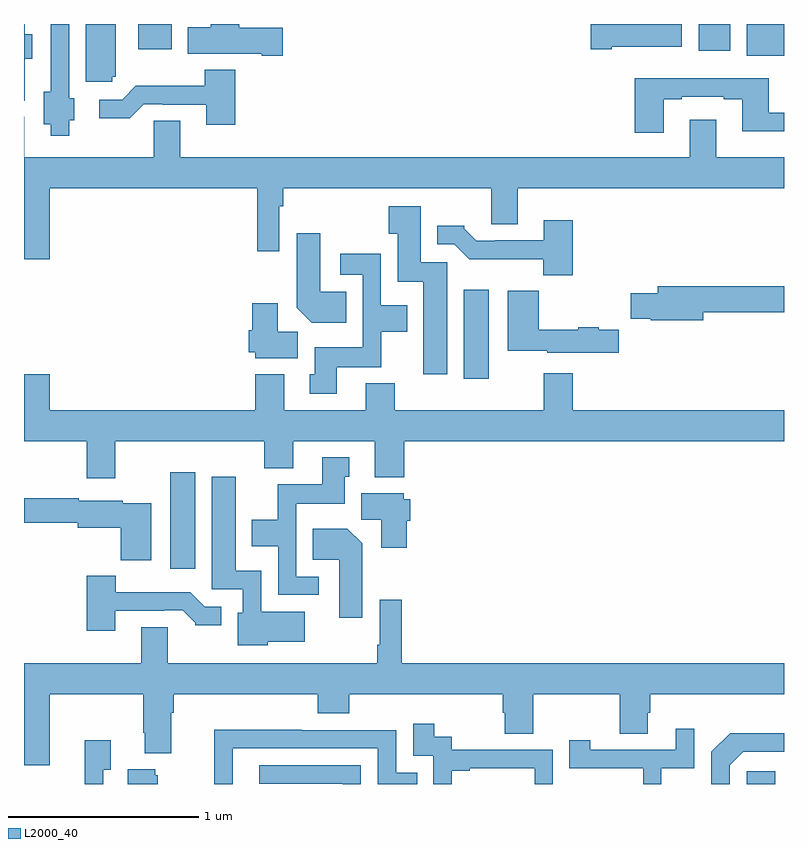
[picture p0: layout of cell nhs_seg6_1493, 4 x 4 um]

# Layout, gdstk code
import gdstk
lib = gdstk.Library(unit=1e-6, precision=1e-09)
def R(c, l, rs):  # rectangles x0, y0, x1, y1
    for r in rs: c.add(gdstk.rectangle(r[:2], r[2:], *l))
def P(c, l, *ps):  # polygons
    for p in ps: c.add(gdstk.Polygon(p, *l))
L2000_40 = (2000, 40)

nhs_seg6_1493 = lib.new_cell('nhs_seg6_1493')
R(nhs_seg6_1493, L2000_40, [(204.804,977.5,204.955,977.566), (201.77,978.633,201.901,979.141), (203.315,979.632,203.446,980.101), (204.803,981.332,205,981.5), (204.551,981.36,204.718,981.5), (201.6,981.368,201.777,981.5)])
P(nhs_seg6_1493, L2000_40, [(201.238,980.994),(201.265,980.994),(201.265,981.108),(201.237,981.108),(201.237,981.5),(201.141,981.5),(201.141,981.143),(201.104,981.143),(201.104,980.972),(201.14,980.972),(201.14,980.912),(201.238,980.912)],
  [(201.465,981.222),(201.484,981.222),(201.484,981.5),(201.326,981.5),(201.326,981.195),(201.465,981.195)],
  [(202.363,981.479),(202.133,981.479),(202.133,981.5),(201.983,981.5),(201.983,981.482),(201.862,981.482),(201.862,981.344),(202.25,981.344),(202.25,981.332),(202.363,981.332)],
  [(204.094,981.38),(204.463,981.38),(204.463,981.5),(203.982,981.5),(203.982,981.368),(204.094,981.368)],
  [(201.004,981.316),(201.043,981.316),(201.043,981.445),(201.004,981.445),(201.004,981.5),(201,981.5),(201,981.097),(201.004,981.097)],
  [(202.112,981.259),(201.952,981.259),(201.952,981.175),(201.589,981.175),(201.516,981.102),(201.396,981.102),(201.396,981.005),(201.557,981.005),(201.63,981.078),(201.73,981.078),(201.73,981.075),(201.959,981.075),(201.959,980.97),(202.112,980.97)],
  [(204.367,981.105),(204.463,981.105),(204.463,981.117),(204.683,981.117),(204.683,981.105),(204.779,981.105),(204.779,980.936),(205,980.936),(205,981.033),(204.919,981.033),(204.919,981.214),(204.215,981.214),(204.215,980.928),(204.367,980.928)],
  [(201.136,980.636),(202.228,980.636),(202.228,980.304),(202.344,980.304),(202.344,980.54),(202.364,980.54),(202.364,980.636),(203.459,980.636),(203.459,980.446),(203.599,980.446),(203.599,980.636),(205,980.636),(205,980.8),(204.643,980.8),(204.643,980.995),(204.503,980.995),(204.503,980.8),(201.823,980.8),(201.823,980.99),(201.684,980.99),(201.684,980.8),(201.001,980.8),(201.001,981.012),(201,981.012),(201,980.262),(201.136,980.262)],
  [(203.227,980.247),(203.089,980.247),(203.089,980.542),(202.921,980.542),(202.921,980.395),(202.967,980.395),(202.967,980.144),(203.102,980.144),(203.102,979.656),(203.227,979.656)],
  [(203.888,980.467),(203.735,980.467),(203.735,980.361),(203.479,980.361),(203.479,980.358),(203.38,980.358),(203.316,980.422),(203.316,980.437),(203.174,980.437),(203.174,980.34),(203.265,980.34),(203.344,980.262),(203.733,980.262),(203.733,980.177),(203.888,980.177)],
  [(202.697,980.092),(202.558,980.092),(202.558,980.398),(202.436,980.398),(202.436,980.006),(202.514,979.928),(202.697,979.928)],
  [(202.645,979.694),(202.881,979.694),(202.881,979.88),(203.017,979.88),(203.017,980.02),(202.878,980.02),(202.878,980.29),(202.665,980.29),(202.665,980.181),(202.782,980.181),(202.782,979.798),(202.529,979.798),(202.529,979.656),(202.505,979.656),(202.505,979.554),(202.645,979.554)],
  [(204.574,979.984),(205,979.984),(205,980.12),(204.335,980.12),(204.335,980.084),(204.193,980.084),(204.193,979.95),(204.298,979.95),(204.298,979.942),(204.574,979.942)],
  [(204.131,979.892),(204.026,979.892),(204.026,979.904),(203.916,979.904),(203.916,979.891),(203.708,979.891),(203.708,980.095),(203.546,980.095),(203.546,979.781),(203.754,979.781),(203.754,979.769),(204.131,979.769)],
  [(202.441,979.88),(202.336,979.88),(202.336,980.029),(202.202,980.029),(202.202,979.887),(202.184,979.887),(202.184,979.773),(202.218,979.773),(202.218,979.742),(202.441,979.742)],
  [(201.481,979.304),(202.265,979.304),(202.265,979.163),(202.417,979.163),(202.417,979.304),(202.847,979.304),(202.847,979.115),(203,979.115),(203,979.304),(205,979.304),(205,979.468),(203.888,979.468),(203.888,979.663),(203.735,979.663),(203.735,979.468),(202.952,979.468),(202.952,979.609),(202.799,979.609),(202.799,979.468),(202.369,979.468),(202.369,979.657),(202.217,979.657),(202.217,979.468),(201.136,979.468),(201.136,979.657),(201,979.657),(201,979.304),(201.329,979.304),(201.329,979.11),(201.481,979.11)],
  [(202.552,978.591),(202.434,978.591),(202.434,978.974),(202.687,978.974),(202.687,979.116),(202.711,979.116),(202.711,979.219),(202.571,979.219),(202.571,979.078),(202.336,979.078),(202.336,978.892),(202.199,978.892),(202.199,978.752),(202.338,978.752),(202.338,978.495),(202.552,978.495)],
  [(202.284,978.248),(202.477,978.248),(202.477,978.406),(202.248,978.406),(202.248,978.622),(202.114,978.622),(202.114,979.117),(201.989,979.117),(201.989,978.525),(202.152,978.525),(202.152,978.402),(202.124,978.402),(202.124,978.23),(202.284,978.23)],
  [(203.015,978.885),(203.033,978.885),(203.033,978.999),(202.998,978.999),(202.998,979.03),(202.775,979.03),(202.775,978.892),(202.88,978.892),(202.88,978.744),(203.015,978.744)],
  [(201.67,978.978),(201.519,978.978),(201.519,978.99),(201.288,978.99),(201.288,979.003),(201,979.003),(201,978.874),(201.284,978.874),(201.284,978.848),(201.508,978.848),(201.508,978.677),(201.67,978.677)],
  [(202.78,978.766),(202.702,978.844),(202.519,978.844),(202.519,978.68),(202.658,978.68),(202.658,978.375),(202.78,978.375)],
  [(201.481,978.411),(201.737,978.411),(201.737,978.414),(201.836,978.414),(201.9,978.35),(201.9,978.335),(202.039,978.335),(202.039,978.432),(201.951,978.432),(201.875,978.508),(201.484,978.508),(201.484,978.595),(201.329,978.595),(201.329,978.306),(201.481,978.306)],
  [(201.757,978.326),(201.617,978.326),(201.617,978.136),(201,978.136),(201,977.598),(201.136,977.598),(201.136,977.972),(201.628,977.972),(201.628,977.77),(201.635,977.77),(201.635,977.663),(201.775,977.663),(201.775,977.876),(201.788,977.876),(201.788,977.972),(202.547,977.972),(202.547,977.873),(202.712,977.873),(202.712,977.972),(203.519,977.972),(203.519,977.874),(203.531,977.874),(203.531,977.764),(203.679,977.764),(203.679,977.972),(204.136,977.972),(204.136,977.764),(204.283,977.764),(204.283,977.874),(204.296,977.874),(204.296,977.972),(205,977.972),(205,978.136),(202.988,978.136),(202.988,978.469),(202.872,978.469),(202.872,978.232),(202.86,978.232),(202.86,978.136),(201.757,978.136)],
  [(203.252,977.571),(203.347,977.571),(203.347,977.583),(203.688,977.583),(203.688,977.5),(203.784,977.5),(203.784,977.679),(203.25,977.679),(203.25,977.748),(203.158,977.748),(203.158,977.818),(203.049,977.818),(203.049,977.649),(203.154,977.649),(203.154,977.5),(203.252,977.5)],
  [(204.354,977.583),(204.528,977.583),(204.528,977.791),(204.431,977.791),(204.431,977.679),(203.98,977.679),(203.98,977.731),(203.869,977.731),(203.869,977.583),(204.258,977.583),(204.258,977.5),(204.354,977.5)],
  [(202.098,977.688),(202.863,977.688),(202.863,977.5),(203.069,977.5),(203.069,977.559),(202.959,977.559),(202.959,977.784),(202.463,977.784),(202.463,977.786),(202,977.786),(202,977.5),(202.098,977.5)],
  [(204.714,977.598),(204.786,977.67),(205,977.67),(205,977.768),(204.716,977.768),(204.618,977.67),(204.618,977.5),(204.714,977.5)],
  [(201.417,977.575),(201.457,977.575),(201.457,977.731),(201.32,977.731),(201.32,977.5),(201.417,977.5)],
  [(202.773,977.598),(202.239,977.598),(202.239,977.502),(202.677,977.502),(202.677,977.5),(202.773,977.5)],
  [(201.703,977.547),(201.692,977.547),(201.692,977.578),(201.545,977.578),(201.545,977.5),(201.703,977.5)])

lib.write_gds('nhs_seg6_1493.gds')
